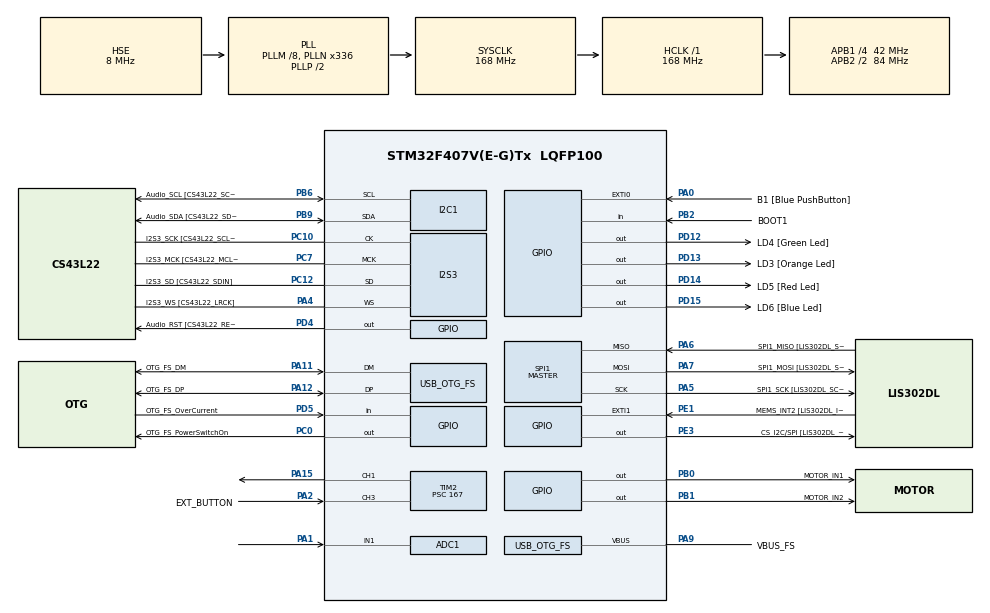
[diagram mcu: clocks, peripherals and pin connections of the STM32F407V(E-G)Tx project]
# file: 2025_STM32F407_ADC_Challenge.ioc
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ADC1.Channel-0\#ChannelRegularConversion=ADC_CHANNEL_1
ADC1.Channel-1\#ChannelInjectedConversion=ADC_CHANNEL_1
ADC1.Channel-2\#ChannelInjectedConversion=ADC_CHANNEL_1
ADC1.Channel-3\#ChannelInjectedConversion=ADC_CHANNEL_1
ADC1.Channel-4\#ChannelInjectedConversion=ADC_CHANNEL_1
ADC1.ContinuousConvMode=ENABLE
ADC1.InjNumberOfConversion=4
ADC1.InjectedOffset-1\#ChannelInjectedConversion=0
ADC1.InjectedOffset-2\#ChannelInjectedConversion=0
ADC1.InjectedOffset-3\#ChannelInjectedConversion=0
ADC1.InjectedOffset-4\#ChannelInjectedConversion=0
ADC1.InjectedRank-1\#ChannelInjectedConversion=1
ADC1.InjectedRank-2\#ChannelInjectedConversion=2
ADC1.InjectedRank-3\#ChannelInjectedConversion=3
ADC1.InjectedRank-4\#ChannelInjectedConversion=4
ADC1.NbrOfConversionFlag=1
ADC1.Rank-0\#ChannelRegularConversion=1
ADC1.SamplingTime-0\#ChannelRegularConversion=ADC_SAMPLETIME_480CYCLES
ADC1.SamplingTime-1\#ChannelInjectedConversion=ADC_SAMPLETIME_56CYCLES
ADC1.SamplingTime-2\#ChannelInjectedConversion=ADC_SAMPLETIME_3CYCLES
ADC1.SamplingTime-3\#ChannelInjectedConversion=ADC_SAMPLETIME_3CYCLES
ADC1.SamplingTime-4\#ChannelInjectedConversion=ADC_SAMPLETIME_3CYCLES
ADC1.master=1
Dma.ADC1.0.Direction=DMA_PERIPH_TO_MEMORY
Dma.ADC1.0.FIFOMode=DMA_FIFOMODE_DISABLE
Dma.ADC1.0.Instance=DMA2_Stream0
Dma.ADC1.0.MemDataAlignment=DMA_MDATAALIGN_HALFWORD
Dma.ADC1.0.MemInc=DMA_MINC_ENABLE
Dma.ADC1.0.Mode=DMA_NORMAL
Dma.ADC1.0.PeriphDataAlignment=DMA_PDATAALIGN_HALFWORD
Dma.ADC1.0.PeriphInc=DMA_PINC_DISABLE
Dma.ADC1.0.Priority=DMA_PRIORITY_LOW
Dma.Request0=ADC1
I2S3.AudioFreq-Half_Duplex_Master=I2S_AUDIOFREQ_96K
I2S3.ErrorAudioFreq=-2.34 %
I2S3.ErrorAudioFreq-Half_Duplex_Master=0.8 %
I2S3.FullDuplexMode=I2S_FULLDUPLEXMODE_DISABLE
I2S3.Instance=SPI$Index
I2S3.RealAudioFreq=93.75 KHz
I2S3.RealAudioFreq-Half_Duplex_Master=96.774 KHz
I2S3.VirtualMode=I2S_MODE_MASTER
Mcu.Family=STM32F4
Mcu.Name=STM32F407V(E-G)Tx
Mcu.Package=LQFP100
NVIC.ADC_IRQn=true\:0\:0\:false\:false\:true\:true\:true\:true
NVIC.DMA2_Stream0_IRQn=true\:0\:0\:false\:false\:true\:false\:true\:true
NVIC.OTG_FS_IRQn=true\:0\:0\:false\:false\:true\:true\:true\:true
NVIC.PVD_IRQn=true\:0\:0\:false\:false\:true\:true\:true\:true
NVIC.PriorityGroup=NVIC_PRIORITYGROUP_0
NVIC.TIM2_IRQn=true\:0\:0\:false\:false\:true\:true\:true\:true
PA0-WKUP.GPIO_Label=B1 [Blue PushButton]
PA0-WKUP.GPIO_ModeDefaultEXTI=GPIO_MODE_EVT_RISING
PA0-WKUP.GPIO_PuPd=GPIO_NOPULL
PA0-WKUP.Signal=GPXTI0
PA1.Signal=ADCx_IN1
PA10.GPIO_Label=OTG_FS_ID
PA10.GPIO_Mode=GPIO_MODE_AF_PP
PA10.GPIO_PuPd=GPIO_NOPULL
PA10.GPIO_Speed=GPIO_SPEED_FREQ_LOW
PA10.Signal=USB_OTG_FS_ID
PA11.GPIO_Label=OTG_FS_DM
PA11.GPIO_Mode=GPIO_MODE_AF_PP
PA11.GPIO_PuPd=GPIO_NOPULL
PA11.GPIO_Speed=GPIO_SPEED_FREQ_LOW
PA11.Mode=Host_Only
PA11.Signal=USB_OTG_FS_DM
PA12.GPIO_Label=OTG_FS_DP
PA12.GPIO_Mode=GPIO_MODE_AF_PP
PA12.GPIO_PuPd=GPIO_NOPULL
PA12.GPIO_Speed=GPIO_SPEED_FREQ_LOW
PA12.Mode=Host_Only
PA12.Signal=USB_OTG_FS_DP
PA13.GPIO_Label=SWDIO
PA13.Mode=Serial_Wire
PA13.Signal=SYS_JTMS-SWDIO
PA14.GPIO_Label=SWCLK
PA14.Mode=Serial_Wire
PA14.Signal=SYS_JTCK-SWCLK
PA15.Signal=S_TIM2_CH1_ETR
PA2.GPIO_Label=EXT_BUTTON
PA2.Signal=S_TIM2_CH3
PA4.GPIO_Label=I2S3_WS [CS43L22_LRCK]
PA4.GPIO_Mode=GPIO_MODE_AF_PP
PA4.GPIO_PuPd=GPIO_NOPULL
PA4.GPIO_Speed=GPIO_SPEED_FREQ_LOW
PA4.Mode=Half_Duplex_Master
PA4.Signal=I2S3_WS
PA5.GPIO_Label=SPI1_SCK [LIS302DL_SCL/SPC]
PA5.GPIO_Mode=GPIO_MODE_AF_PP
PA5.GPIO_PuPd=GPIO_NOPULL
PA5.GPIO_Speed=GPIO_SPEED_FREQ_LOW
PA5.Mode=Full_Duplex_Master
PA5.Signal=SPI1_SCK
PA6.GPIO_Label=SPI1_MISO [LIS302DL_SDO]
PA6.GPIO_Mode=GPIO_MODE_AF_PP
PA6.GPIO_PuPd=GPIO_NOPULL
PA6.GPIO_Speed=GPIO_SPEED_FREQ_LOW
PA6.Mode=Full_Duplex_Master
PA6.Signal=SPI1_MISO
PA7.GPIO_Label=SPI1_MOSI [LIS302DL_SDA/SDI/SDO]
PA7.GPIO_Mode=GPIO_MODE_AF_PP
PA7.GPIO_PuPd=GPIO_NOPULL
PA7.GPIO_Speed=GPIO_SPEED_FREQ_LOW
PA7.Mode=Full_Duplex_Master
PA7.Signal=SPI1_MOSI
PA9.GPIO_Label=VBUS_FS
PA9.GPIO_Mode=GPIO_MODE_INPUT
PA9.GPIO_PuPd=GPIO_NOPULL
PA9.Mode=Activate_VBUS
PA9.Signal=USB_OTG_FS_VBUS
PB0.GPIO_Label=MOTOR_IN1
PB0.Signal=GPIO_Output
PB1.GPIO_Label=MOTOR_IN2
PB1.Signal=GPIO_Output
PB10.GPIO_Label=CLK_IN [MP45DT02_CLK]
PB10.GPIO_Mode=GPIO_MODE_AF_PP
PB10.GPIO_PuPd=GPIO_NOPULL
PB10.GPIO_Speed=GPIO_SPEED_FREQ_LOW
PB10.Signal=I2S2_CK
PB2.GPIO_Label=BOOT1
PB2.GPIO_Mode=GPIO_MODE_INPUT
PB2.GPIO_PuPd=GPIO_NOPULL
PB2.Signal=GPIO_Input
PB3.GPIO_Label=SWO
PB3.Signal=SYS_JTDO-SWO
PB6.GPIO_Label=Audio_SCL [CS43L22_SCL]
PB6.GPIO_Mode=GPIO_MODE_AF_OD
PB6.GPIO_Pu=GPIO_PULLUP
PB6.GPIO_PuPd=GPIO_NOPULL
PB6.GPIO_Speed=GPIO_SPEED_FREQ_LOW
PB6.Mode=I2C
PB6.Signal=I2C1_SCL
PB9.GPIO_Label=Audio_SDA [CS43L22_SDA]
PB9.GPIO_Mode=GPIO_MODE_AF_OD
PB9.GPIO_Pu=GPIO_PULLUP
PB9.GPIO_PuPd=GPIO_NOPULL
PB9.GPIO_Speed=GPIO_SPEED_FREQ_LOW
PB9.Mode=I2C
PB9.Signal=I2C1_SDA
PC0.GPIO_Label=OTG_FS_PowerSwitchOn
PC0.GPIO_PuPd=GPIO_NOPULL
PC0.GPIO_Speed=GPIO_SPEED_FREQ_LOW
PC0.PinState=GPIO_PIN_SET
PC0.Signal=GPIO_Output
PC10.GPIO_Label=I2S3_SCK [CS43L22_SCLK]
PC10.GPIO_Mode=GPIO_MODE_AF_PP
PC10.GPIO_PuPd=GPIO_NOPULL
PC10.GPIO_Speed=GPIO_SPEED_FREQ_LOW
PC10.Mode=Half_Duplex_Master
PC10.Signal=I2S3_CK
PC12.GPIO_Label=I2S3_SD [CS43L22_SDIN]
PC12.GPIO_Mode=GPIO_MODE_AF_PP
PC12.GPIO_PuPd=GPIO_NOPULL
PC12.GPIO_Speed=GPIO_SPEED_FREQ_LOW
PC12.Mode=Half_Duplex_Master
PC12.Signal=I2S3_SD
PC14-OSC32_IN.GPIO_Label=PC14-OSC32_IN
PC14-OSC32_IN.Mode=LSE-External-Oscillator
PC14-OSC32_IN.Signal=RCC_OSC32_IN
PC15-OSC32_OUT.GPIO_Label=PC15-OSC32_OUT
PC15-OSC32_OUT.Mode=LSE-External-Oscillator
PC15-OSC32_OUT.Signal=RCC_OSC32_OUT
PC3.GPIO_Label=PDM_OUT [MP45DT02_DOUT]
PC3.GPIO_Mode=GPIO_MODE_AF_PP
PC3.GPIO_PuPd=GPIO_NOPULL
PC3.GPIO_Speed=GPIO_SPEED_FREQ_LOW
PC3.Signal=I2S2_SD
PC7.GPIO_Label=I2S3_MCK [CS43L22_MCLK]
PC7.GPIO_Mode=GPIO_MODE_AF_PP
PC7.GPIO_PuPd=GPIO_NOPULL
PC7.GPIO_Speed=GPIO_SPEED_FREQ_LOW
PC7.Mode=Master_Clock_Activated
PC7.Signal=I2S3_MCK
PD12.GPIO_Label=LD4 [Green Led]
PD12.GPIO_PuPd=GPIO_NOPULL
PD12.GPIO_Speed=GPIO_SPEED_FREQ_LOW
PD12.Signal=GPIO_Output
PD13.GPIO_Label=LD3 [Orange Led]
PD13.GPIO_PuPd=GPIO_NOPULL
PD13.GPIO_Speed=GPIO_SPEED_FREQ_LOW
PD13.Signal=GPIO_Output
PD14.GPIO_Label=LD5 [Red Led]
PD14.GPIO_PuPd=GPIO_NOPULL
PD14.GPIO_Speed=GPIO_SPEED_FREQ_LOW
PD14.Signal=GPIO_Output
PD15.GPIO_Label=LD6 [Blue Led]
PD15.GPIO_PuPd=GPIO_NOPULL
PD15.GPIO_Speed=GPIO_SPEED_FREQ_LOW
PD15.Signal=GPIO_Output
PD4.GPIO_Label=Audio_RST [CS43L22_RESET]
PD4.GPIO_PuPd=GPIO_NOPULL
PD4.GPIO_Speed=GPIO_SPEED_FREQ_LOW
PD4.Signal=GPIO_Output
PD5.GPIO_Label=OTG_FS_OverCurrent
PD5.GPIO_Mode=GPIO_MODE_INPUT
PD5.GPIO_PuPd=GPIO_NOPULL
PD5.Signal=GPIO_Input
PE1.GPIO_Label=MEMS_INT2 [LIS302DL_INT2]
PE1.GPIO_ModeDefaultEXTI=GPIO_MODE_EVT_RISING
PE1.GPIO_PuPd=GPIO_NOPULL
PE1.Signal=GPXTI1
PE3.GPIO_Label=CS_I2C/SPI [LIS302DL_CS_I2C/SPI]
PE3.GPIO_PuPd=GPIO_NOPULL
PE3.GPIO_Speed=GPIO_SPEED_FREQ_LOW
PE3.Signal=GPIO_Output
PH0-OSC_IN.GPIO_Label=PH0-OSC_IN
PH0-OSC_IN.Mode=HSE-External-Oscillator
PH0-OSC_IN.Signal=RCC_OSC_IN
PH1-OSC_OUT.GPIO_Label=PH1-OSC_OUT
PH1-OSC_OUT.Mode=HSE-External-Oscillator
PH1-OSC_OUT.Signal=RCC_OSC_OUT
ProjectManager.HeapSize=0x200
ProjectManager.StackSize=0x400
ProjectManager.TargetToolchain=STM32CubeIDE
RCC.48MHZClocksFreq_Value=48000000
RCC.AHBFreq_Value=168000000
RCC.APB1CLKDivider=RCC_HCLK_DIV4
RCC.APB1Freq_Value=42000000
RCC.APB1TimFreq_Value=84000000
RCC.APB2CLKDivider=RCC_HCLK_DIV2
RCC.APB2Freq_Value=84000000
RCC.APB2TimFreq_Value=168000000
RCC.CortexFreq_Value=168000000
RCC.HCLKFreq_Value=168000000
RCC.HSE_VALUE=8000000
RCC.HSI_VALUE=16000000
RCC.PLLM=8
RCC.PLLN=336
RCC.PLLQ=7
RCC.SYSCLKFreq_VALUE=168000000
RCC.SYSCLKSource=RCC_SYSCLKSOURCE_PLLCLK
RCC.VCOOutputFreq_Value=336000000
SH.ADCx_IN1.0=ADC1_IN1,IN1
SH.S_TIM2_CH1_ETR.0=TIM2_CH1,PWM Generation1 CH1
SH.S_TIM2_CH3.0=TIM2_CH3,Input_Capture3_from_TI3
SPI1.BaudRatePrescaler-Full_Duplex_Master=SPI_BAUDRATEPRESCALER_2
SPI1.CalculateBaudRate-Full_Duplex_Master=42.0 MBits/s
SPI1.Direction=SPI_DIRECTION_2LINES
SPI1.Mode=SPI_MODE_MASTER
SPI1.Mode-Full_Duplex_Master=SPI_MODE_MASTER
SPI1.VirtualType=VM_MASTER
TIM2.Channel-Input_Capture3_from_TI3=TIM_CHANNEL_3
TIM2.Channel-PWM\ Generation1\ CH1=TIM_CHANNEL_1
TIM2.Period=1023
TIM2.Prescaler=167
USB_HOST.BSP.number=1
USB_HOST.USBH_HandleTypeDef-CDC_FS=hUsbHostFS
USB_HOST.VirtualModeFS=Cdc
USB_HOST0.BSP.STBoard=false
USB_HOST0.BSP.api=Unknown
USB_HOST0.BSP.instance=PC0
USB_HOST0.BSP.ip=GPIO
USB_HOST0.BSP.mode=Output
USB_HOST0.BSP.name=Drive_VBUS_FS
USB_HOST0.BSP.solution=PC0
USB_OTG_FS.VirtualMode=Host_Only
USB_OTG_FS.phy_itface=HCD_PHY_EMBEDDED
VP_TIM2_VS_ClockSourceINT.Mode=Internal
VP_USB_HOST_VS_USB_HOST_CDC_FS.Mode=CDC_FS
board=STM32F407G-DISC1

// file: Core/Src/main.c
/* USER CODE BEGIN Header */
/**
  ******************************************************************************
  * @file           : main.c
  * @brief          : Main program body
  ******************************************************************************
  * @attention
  *
  * Copyright (c) 2025 STMicroelectronics.
  * All rights reserved.
  *
  * This software is licensed under terms that can be found in the LICENSE file
  * in the root directory of this software component.
  * If no LICENSE file comes with this software, it is provided AS-IS.
  *
  ******************************************************************************
  */
/* USER CODE END Header */
#include "main.h"
#include "usb_host.h"

/* USER CODE BEGIN Includes */
#include <stdio.h> // For potential debug prints
/* USER CODE END Includes */

/* USER CODE BEGIN PTD */
typedef enum {
    MOTOR_STOPPED,
    MOTOR_CCW,
    MOTOR_CW
} MotorState_t;

typedef enum {
    BATT_OK,
    BATT_LOW_SHUTDOWN, // Motors off, waiting for >7V
    BATT_VERY_LOW      // Motors off, below 6.5V
} BatteryState_t;
/* USER CODE END PTD */

/* USER CODE BEGIN PD */
// ADC & Battery Voltage Defines
#define VREF_MV                     3300.0f // ADC Reference voltage in millivolts (e.g., 3.3V)
#define ADC_MAX_VALUE               4095.0f // For 12-bit ADC (2^12 - 1)
// *** IMPORTANT: CALIBRATE THIS Voltage Divider Ratio ***
// Example: If R1=10k, R2=5.6k, Ratio = (22.1k + 10k) / 10k = 32.1 / 10 = 3.21
#define VOLTAGE_DIVIDER_RATIO       3.2f // (R1+R2)/R2 for your voltage divider
#define BATT_THRESHOLD_LOW_MV       6500    // 6.5V in mV
#define BATT_THRESHOLD_RESTART_MV   7000    // 7.0V in mV

// Motor PWM Timer (Assuming TIM2, Channel 1)
#define MOTOR_PWM_TIMER             htim2   // Change if you used a different timer
#define MOTOR_PWM_CHANNEL           TIM_CHANNEL_1
#define MOTOR_PWM_MAX_DUTY          1023    // Corresponds to ARR set in CubeMX for TIM2
#define MOTOR_DEFAULT_SPEED_DUTY    (MOTOR_PWM_MAX_DUTY / 2) // 50% speed

// Button Click Detection
#define BUTTON_DEBOUNCE_MS          50      // Debounce time for button
#define BUTTON_MULTICLICK_TIMEOUT_MS 500    // Max time between clicks for multi-click
/* USER CODE END PD */

ADC_HandleTypeDef hadc1;
DMA_HandleTypeDef hdma_adc1;

I2C_HandleTypeDef hi2c1;

I2S_HandleTypeDef hi2s3;

SPI_HandleTypeDef hspi1;

TIM_HandleTypeDef htim2;

/* USER CODE BEGIN PV */
// ADC Variables
#if ADC_NROFCONVERSIONS == 1 // If you changed NbrOfConversion to 1
uint16_t gADC_Value = 0; // Single ADC value
#else
uint16_t gADC_Values[1] = {0}; // If you kept NbrOfConversions > 1, but only use the first
#endif
volatile uint8_t gFlag_ADC_Finished = 0;
volatile uint32_t gBatteryVoltage_mV = 0;
volatile BatteryState_t gBatteryState = BATT_OK;

// Motor State Variables
volatile MotorState_t gMotorCommand = MOTOR_STOPPED;
volatile uint8_t gMotorsEnabledByBattery = 1; // Start assuming battery is OK

// Button Click Variables
volatile uint8_t  gButtonClickCount = 0;
volatile uint32_t gLastButtonPressTime = 0;
volatile uint32_t gButtonDebounceCheckTime = 0;
/* USER CODE END PV */

void SystemClock_Config(void);
static void MX_GPIO_Init(void);
static void MX_DMA_Init(void);
static void MX_I2C1_Init(void);
static void MX_I2S3_Init(void);
static void MX_SPI1_Init(void);
static void MX_ADC1_Init(void);
static void MX_TIM2_Init(void);
void MX_USB_HOST_Process(void);

/* USER CODE BEGIN PFP */
void ProcessBatteryVoltage(void);
void ControlMotors(void);
void SetMotorSpeed(uint16_t duty_cycle);
void SetMotorDirection(MotorState_t direction);
void ProcessButtonClicks(void);
/* USER CODE END PFP */

/* USER CODE BEGIN 0 */

void ProcessBatteryVoltage(void) {
    uint32_t raw_adc;

	#if ADC_NROFCONVERSIONS == 1
		raw_adc = gADC_Value;
	#else
		raw_adc = gADC_Values[0]; // Assuming battery voltage is the first channel
	#endif

    // Convert ADC raw value to millivolts
    // V_adc = raw_adc * (VREF_MV / ADC_MAX_VALUE)
    // V_battery = V_adc * VOLTAGE_DIVIDER_RATIO
    gBatteryVoltage_mV = (uint32_t)(((float)raw_adc * VREF_MV / ADC_MAX_VALUE) * VOLTAGE_DIVIDER_RATIO);

    // Hysteresis for battery state
    if (gBatteryState == BATT_VERY_LOW) {
        if (gBatteryVoltage_mV > BATT_THRESHOLD_RESTART_MV) {
            gBatteryState = BATT_OK;
            gMotorsEnabledByBattery = 1;
        }
    } else if (gBatteryState == BATT_LOW_SHUTDOWN) {
         if (gBatteryVoltage_mV > BATT_THRESHOLD_RESTART_MV) {
            gBatteryState = BATT_OK;
            gMotorsEnabledByBattery = 1;
        } else if (gBatteryVoltage_mV < BATT_THRESHOLD_LOW_MV) {
            gBatteryState = BATT_VERY_LOW;
            gMotorsEnabledByBattery = 0;
        }
    }
    else { // BATT_OK
        if (gBatteryVoltage_mV < BATT_THRESHOLD_LOW_MV) {
            gBatteryState = BATT_VERY_LOW; // Or BATT_LOW_SHUTDOWN if you want a distinct state
            gMotorsEnabledByBattery = 0;
        }
    }

    // For debugging (optional, requires UART setup)
    // printf("Battery Voltage: %lu mV, State: %d\r\n", gBatteryVoltage_mV, gBatteryState);
}

void SetMotorSpeed(uint16_t duty_cycle) {
    if (duty_cycle > MOTOR_PWM_MAX_DUTY) {
        duty_cycle = MOTOR_PWM_MAX_DUTY;
    }
    __HAL_TIM_SET_COMPARE(&MOTOR_PWM_TIMER, MOTOR_PWM_CHANNEL, duty_cycle);
}

void SetMotorDirection(MotorState_t command) {
    if (!gMotorsEnabledByBattery) { // If battery is too low, force stop
        HAL_GPIO_WritePin(MOTOR_IN1_GPIO_Port, MOTOR_IN1_Pin, GPIO_PIN_RESET); // Use labels from CubeMX
        HAL_GPIO_WritePin(MOTOR_IN2_GPIO_Port, MOTOR_IN2_Pin, GPIO_PIN_RESET);
        SetMotorSpeed(0);
        return;
    }

    switch (command) {
        case MOTOR_STOPPED:
            HAL_GPIO_WritePin(MOTOR_IN1_GPIO_Port, MOTOR_IN1_Pin, GPIO_PIN_RESET);
            HAL_GPIO_WritePin(MOTOR_IN2_GPIO_Port, MOTOR_IN2_Pin, GPIO_PIN_RESET);
            SetMotorSpeed(0);
            break;
        case MOTOR_CCW:
            HAL_GPIO_WritePin(MOTOR_IN1_GPIO_Port, MOTOR_IN1_Pin, GPIO_PIN_SET);
            HAL_GPIO_WritePin(MOTOR_IN2_GPIO_Port, MOTOR_IN2_Pin, GPIO_PIN_RESET);
            // Note: Actual IN1/IN2 for CCW/CW depends on your wiring to the motor driver
            SetMotorSpeed(MOTOR_DEFAULT_SPEED_DUTY);
            break;
        case MOTOR_CW:
            HAL_GPIO_WritePin(MOTOR_IN1_GPIO_Port, MOTOR_IN1_Pin, GPIO_PIN_RESET);
            HAL_GPIO_WritePin(MOTOR_IN2_GPIO_Port, MOTOR_IN2_Pin, GPIO_PIN_SET);
            SetMotorSpeed(MOTOR_DEFAULT_SPEED_DUTY);
            break;
        default:
            HAL_GPIO_WritePin(MOTOR_IN1_GPIO_Port, MOTOR_IN1_Pin, GPIO_PIN_RESET);
            HAL_GPIO_WritePin(MOTOR_IN2_GPIO_Port, MOTOR_IN2_Pin, GPIO_PIN_RESET);
            SetMotorSpeed(0);
            break;
    }
}

void ControlMotors(void) {
    SetMotorDirection(gMotorCommand);
}

void ProcessButtonClicks(void) {
    // This function is called periodically from the main loop to check if a multi-click timeout has occurred.
    if (gButtonClickCount > 0 && (HAL_GetTick() - gLastButtonPressTime > BUTTON_MULTICLICK_TIMEOUT_MS)) {
        if (gButtonClickCount == 1) {
            gMotorCommand = MOTOR_STOPPED;
        } else if (gButtonClickCount == 2) {
            gMotorCommand = MOTOR_CCW;
        } else if (gButtonClickCount >= 3) { // More than 3 clicks also results in CW
            gMotorCommand = MOTOR_CW;
        }
        gButtonClickCount = 0; // Reset for next sequence
    }
}

/* USER CODE END 0 */

int main(void)
{

  /* MCU Configuration--------------------------------------------------------*/

  /* Reset of all peripherals, Initializes the Flash interface and the Systick. */
  HAL_Init();

  /* Configure the system clock */
  SystemClock_Config();

  /* Initialize all configured peripherals */
  MX_GPIO_Init();
  MX_DMA_Init();
  MX_I2C1_Init();
  MX_I2S3_Init();
  MX_SPI1_Init();
  MX_USB_HOST_Init();
  MX_ADC1_Init();
  MX_TIM2_Init();
  /* USER CODE BEGIN 2 */
  // Start ADC with DMA
  #if ADC_NROFCONVERSIONS == 1
    if (HAL_ADC_Start_DMA(&hadc1, (uint32_t*)&gADC_Value, 1) != HAL_OK) {
        Error_Handler();
    }
  #else
    if (HAL_ADC_Start_DMA(&hadc1, (uint32_t*)gADC_Values, 1) != HAL_OK) { // Still read 1 value into the array
        Error_Handler();
    }
  #endif

    // Start PWM Timer
    if (HAL_TIM_PWM_Start(&MOTOR_PWM_TIMER, MOTOR_PWM_CHANNEL) != HAL_OK) {
        Error_Handler();
    }
    SetMotorSpeed(0); // Ensure motors are off at start

    gMotorCommand = MOTOR_STOPPED; // Initial motor state
    SetMotorDirection(gMotorCommand);

    if (HAL_TIM_IC_Start_IT(&htim2, TIM_CHANNEL_3) != HAL_OK) {
    	Error_Handler();
    }
  /* USER CODE END 2 */

  /* Infinite loop */
  /* USER CODE BEGIN WHILE */
  uint32_t last_adc_check_time = HAL_GetTick();

  while (1)
  {
    /* USER CODE END WHILE */
    MX_USB_HOST_Process();

    /* USER CODE BEGIN 3 */
    uint32_t current_time = HAL_GetTick();

    // Process ADC data periodically (e.g., every 100ms)
    if (gFlag_ADC_Finished == 1) {
            gFlag_ADC_Finished = 0;
            ProcessBatteryVoltage(); // Process the new ADC value

            // Restart DMA for next conversion after processing
    #if ADC_NROFCONVERSIONS == 1
            if (HAL_ADC_Start_DMA(&hadc1, (uint32_t*)&gADC_Value, 1) != HAL_OK) {
                Error_Handler(); // Or handle error more gracefully
            }
    #else
            if (HAL_ADC_Start_DMA(&hadc1, (uint32_t*)gADC_Values, 1) != HAL_OK) {
                Error_Handler();
            }
    #endif
    }

	// Check for button click timeout
	ProcessButtonClicks();

	// Apply motor commands based on battery and button
	ControlMotors();

	// Minimal delay to allow other tasks/interrupts, ADC runs on DMA
	HAL_Delay(10); // Adjust as needed, e.g. 10-50ms
  }
  /* USER CODE END 3 */
}

void SystemClock_Config(void)
{
  RCC_OscInitTypeDef RCC_OscInitStruct = {0};
  RCC_ClkInitTypeDef RCC_ClkInitStruct = {0};

  /** Configure the main internal regulator output voltage
  */
  __HAL_RCC_PWR_CLK_ENABLE();
  __HAL_PWR_VOLTAGESCALING_CONFIG(PWR_REGULATOR_VOLTAGE_SCALE1);

  /** Initializes the RCC Oscillators according to the specified parameters
  * in the RCC_OscInitTypeDef structure.
  */
  RCC_OscInitStruct.OscillatorType = RCC_OSCILLATORTYPE_HSE;
  RCC_OscInitStruct.HSEState = RCC_HSE_ON;
  RCC_OscInitStruct.PLL.PLLState = RCC_PLL_ON;
  RCC_OscInitStruct.PLL.PLLSource = RCC_PLLSOURCE_HSE;
  RCC_OscInitStruct.PLL.PLLM = 8;
  RCC_OscInitStruct.PLL.PLLN = 336;
  RCC_OscInitStruct.PLL.PLLP = RCC_PLLP_DIV2;
  RCC_OscInitStruct.PLL.PLLQ = 7;
  if (HAL_RCC_OscConfig(&RCC_OscInitStruct) != HAL_OK)
  {
    Error_Handler();
  }

  /** Initializes the CPU, AHB and APB buses clocks
  */
  RCC_ClkInitStruct.ClockType = RCC_CLOCKTYPE_HCLK|RCC_CLOCKTYPE_SYSCLK
                              |RCC_CLOCKTYPE_PCLK1|RCC_CLOCKTYPE_PCLK2;
  RCC_ClkInitStruct.SYSCLKSource = RCC_SYSCLKSOURCE_PLLCLK;
  RCC_ClkInitStruct.AHBCLKDivider = RCC_SYSCLK_DIV1;
  RCC_ClkInitStruct.APB1CLKDivider = RCC_HCLK_DIV4;
  RCC_ClkInitStruct.APB2CLKDivider = RCC_HCLK_DIV2;

  if (HAL_RCC_ClockConfig(&RCC_ClkInitStruct, FLASH_LATENCY_5) != HAL_OK)
  {
    Error_Handler();
  }
}

static void MX_ADC1_Init(void)
{

  ADC_ChannelConfTypeDef sConfig = {0};
  ADC_InjectionConfTypeDef sConfigInjected = {0};

  /** Configure the global features of the ADC (Clock, Resolution, Data Alignment and number of conversion)
  */
  hadc1.Instance = ADC1;
  hadc1.Init.ClockPrescaler = ADC_CLOCK_SYNC_PCLK_DIV4;
  hadc1.Init.Resolution = ADC_RESOLUTION_12B;
  hadc1.Init.ScanConvMode = ENABLE;
  hadc1.Init.ContinuousConvMode = ENABLE;
  hadc1.Init.DiscontinuousConvMode = DISABLE;
  hadc1.Init.ExternalTrigConvEdge = ADC_EXTERNALTRIGCONVEDGE_NONE;
  hadc1.Init.ExternalTrigConv = ADC_SOFTWARE_START;
  hadc1.Init.DataAlign = ADC_DATAALIGN_RIGHT;
  hadc1.Init.NbrOfConversion = 1;
  hadc1.Init.DMAContinuousRequests = DISABLE;
  hadc1.Init.EOCSelection = ADC_EOC_SINGLE_CONV;
  if (HAL_ADC_Init(&hadc1) != HAL_OK)
  {
    Error_Handler();
  }

  /** Configure for the selected ADC regular channel its corresponding rank in the sequencer and its sample time.
  */
  sConfig.Channel = ADC_CHANNEL_1;
  sConfig.Rank = 1;
  sConfig.SamplingTime = ADC_SAMPLETIME_480CYCLES;
  if (HAL_ADC_ConfigChannel(&hadc1, &sConfig) != HAL_OK)
  {
    Error_Handler();
  }

  /** Configures for the selected ADC injected channel its corresponding rank in the sequencer and its sample time
  */
  sConfigInjected.InjectedChannel = ADC_CHANNEL_1;
  sConfigInjected.InjectedRank = 1;
  sConfigInjected.InjectedNbrOfConversion = 4;
  sConfigInjected.InjectedSamplingTime = ADC_SAMPLETIME_56CYCLES;
  sConfigInjected.ExternalTrigInjecConvEdge = ADC_EXTERNALTRIGINJECCONVEDGE_NONE;
  sConfigInjected.ExternalTrigInjecConv = ADC_INJECTED_SOFTWARE_START;
  sConfigInjected.AutoInjectedConv = DISABLE;
  sConfigInjected.InjectedDiscontinuousConvMode = DISABLE;
  sConfigInjected.InjectedOffset = 0;
  if (HAL_ADCEx_InjectedConfigChannel(&hadc1, &sConfigInjected) != HAL_OK)
  {
    Error_Handler();
  }

  /** Configures for the selected ADC injected channel its corresponding rank in the sequencer and its sample time
  */
  sConfigInjected.InjectedRank = 2;
  sConfigInjected.InjectedSamplingTime = ADC_SAMPLETIME_3CYCLES;
  if (HAL_ADCEx_InjectedConfigChannel(&hadc1, &sConfigInjected) != HAL_OK)
  {
    Error_Handler();
  }

  /** Configures for the selected ADC injected channel its corresponding rank in the sequencer and its sample time
  */
  sConfigInjected.InjectedRank = 3;
  if (HAL_ADCEx_InjectedConfigChannel(&hadc1, &sConfigInjected) != HAL_OK)
  {
    Error_Handler();
  }

  /** Configures for the selected ADC injected channel its corresponding rank in the sequencer and its sample time
  */
  sConfigInjected.InjectedRank = 4;
  if (HAL_ADCEx_InjectedConfigChannel(&hadc1, &sConfigInjected) != HAL_OK)
  {
    Error_Handler();
  }

}

static void MX_I2C1_Init(void)
{

  hi2c1.Instance = I2C1;
  hi2c1.Init.ClockSpeed = 100000;
  hi2c1.Init.DutyCycle = I2C_DUTYCYCLE_2;
  hi2c1.Init.OwnAddress1 = 0;
  hi2c1.Init.AddressingMode = I2C_ADDRESSINGMODE_7BIT;
  hi2c1.Init.DualAddressMode = I2C_DUALADDRESS_DISABLE;
  hi2c1.Init.OwnAddress2 = 0;
  hi2c1.Init.GeneralCallMode = I2C_GENERALCALL_DISABLE;
  hi2c1.Init.NoStretchMode = I2C_NOSTRETCH_DISABLE;
  if (HAL_I2C_Init(&hi2c1) != HAL_OK)
  {
    Error_Handler();
  }

}

static void MX_I2S3_Init(void)
{

  hi2s3.Instance = SPI3;
  hi2s3.Init.Mode = I2S_MODE_MASTER_TX;
  hi2s3.Init.Standard = I2S_STANDARD_PHILIPS;
  hi2s3.Init.DataFormat = I2S_DATAFORMAT_16B;
  hi2s3.Init.MCLKOutput = I2S_MCLKOUTPUT_ENABLE;
  hi2s3.Init.AudioFreq = I2S_AUDIOFREQ_96K;
  hi2s3.Init.CPOL = I2S_CPOL_LOW;
  hi2s3.Init.ClockSource = I2S_CLOCK_PLL;
  hi2s3.Init.FullDuplexMode = I2S_FULLDUPLEXMODE_DISABLE;
  if (HAL_I2S_Init(&hi2s3) != HAL_OK)
  {
    Error_Handler();
  }

}

static void MX_SPI1_Init(void)
{

  /* SPI1 parameter configuration*/
  hspi1.Instance = SPI1;
  hspi1.Init.Mode = SPI_MODE_MASTER;
  hspi1.Init.Direction = SPI_DIRECTION_2LINES;
  hspi1.Init.DataSize = SPI_DATASIZE_8BIT;
  hspi1.Init.CLKPolarity = SPI_POLARITY_LOW;
  hspi1.Init.CLKPhase = SPI_PHASE_1EDGE;
  hspi1.Init.NSS = SPI_NSS_SOFT;
  hspi1.Init.BaudRatePrescaler = SPI_BAUDRATEPRESCALER_2;
  hspi1.Init.FirstBit = SPI_FIRSTBIT_MSB;
  hspi1.Init.TIMode = SPI_TIMODE_DISABLE;
  hspi1.Init.CRCCalculation = SPI_CRCCALCULATION_DISABLE;
  hspi1.Init.CRCPolynomial = 10;
  if (HAL_SPI_Init(&hspi1) != HAL_OK)
  {
    Error_Handler();
  }

}

static void MX_TIM2_Init(void)
{

  TIM_ClockConfigTypeDef sClockSourceConfig = {0};
  TIM_MasterConfigTypeDef sMasterConfig = {0};
  TIM_OC_InitTypeDef sConfigOC = {0};
  TIM_IC_InitTypeDef sConfigIC = {0};

  htim2.Instance = TIM2;
  htim2.Init.Prescaler = 167;
  htim2.Init.CounterMode = TIM_COUNTERMODE_UP;
  htim2.Init.Period = 1023;
  htim2.Init.ClockDivision = TIM_CLOCKDIVISION_DIV1;
  htim2.Init.AutoReloadPreload = TIM_AUTORELOAD_PRELOAD_DISABLE;
  if (HAL_TIM_Base_Init(&htim2) != HAL_OK)
  {
    Error_Handler();
  }
  sClockSourceConfig.ClockSource = TIM_CLOCKSOURCE_INTERNAL;
  if (HAL_TIM_ConfigClockSource(&htim2, &sClockSourceConfig) != HAL_OK)
  {
    Error_Handler();
  }
  if (HAL_TIM_PWM_Init(&htim2) != HAL_OK)
  {
    Error_Handler();
  }
  if (HAL_TIM_IC_Init(&htim2) != HAL_OK)
  {
    Error_Handler();
  }
  sMasterConfig.MasterOutputTrigger = TIM_TRGO_RESET;
  sMasterConfig.MasterSlaveMode = TIM_MASTERSLAVEMODE_DISABLE;
  if (HAL_TIMEx_MasterConfigSynchronization(&htim2, &sMasterConfig) != HAL_OK)
  {
    Error_Handler();
  }
  sConfigOC.OCMode = TIM_OCMODE_PWM1;
  sConfigOC.Pulse = 0;
  sConfigOC.OCPolarity = TIM_OCPOLARITY_HIGH;
  sConfigOC.OCFastMode = TIM_OCFAST_DISABLE;
  if (HAL_TIM_PWM_ConfigChannel(&htim2, &sConfigOC, TIM_CHANNEL_1) != HAL_OK)
  {
    Error_Handler();
  }
  sConfigIC.ICPolarity = TIM_INPUTCHANNELPOLARITY_RISING;
  sConfigIC.ICSelection = TIM_ICSELECTION_DIRECTTI;
  sConfigIC.ICPrescaler = TIM_ICPSC_DIV1;
  sConfigIC.ICFilter = 0;
  if (HAL_TIM_IC_ConfigChannel(&htim2, &sConfigIC, TIM_CHANNEL_3) != HAL_OK)
  {
    Error_Handler();
  }
  HAL_TIM_MspPostInit(&htim2);

}

static void MX_DMA_Init(void)
{

  /* DMA controller clock enable */
  __HAL_RCC_DMA2_CLK_ENABLE();

  /* DMA interrupt init */
  /* DMA2_Stream0_IRQn interrupt configuration */
  HAL_NVIC_SetPriority(DMA2_Stream0_IRQn, 0, 0);
  HAL_NVIC_EnableIRQ(DMA2_Stream0_IRQn);

}

static void MX_GPIO_Init(void)
{
  GPIO_InitTypeDef GPIO_InitStruct = {0};

  /* GPIO Ports Clock Enable */
  __HAL_RCC_GPIOE_CLK_ENABLE();
  __HAL_RCC_GPIOC_CLK_ENABLE();
  __HAL_RCC_GPIOH_CLK_ENABLE();
  __HAL_RCC_GPIOA_CLK_ENABLE();
  __HAL_RCC_GPIOB_CLK_ENABLE();
  __HAL_RCC_GPIOD_CLK_ENABLE();

  /*Configure GPIO pin Output Level */
  HAL_GPIO_WritePin(CS_I2C_SPI_GPIO_Port, CS_I2C_SPI_Pin, GPIO_PIN_RESET);

  /*Configure GPIO pin Output Level */
  HAL_GPIO_WritePin(OTG_FS_PowerSwitchOn_GPIO_Port, OTG_FS_PowerSwitchOn_Pin, GPIO_PIN_SET);

  /*Configure GPIO pin Output Level */
  HAL_GPIO_WritePin(GPIOB, MOTOR_IN1_Pin|MOTOR_IN2_Pin, GPIO_PIN_RESET);

  /*Configure GPIO pin Output Level */
  HAL_GPIO_WritePin(GPIOD, LD4_Pin|LD3_Pin|LD5_Pin|LD6_Pin
                          |Audio_RST_Pin, GPIO_PIN_RESET);

  /*Configure GPIO pin : CS_I2C_SPI_Pin */
  GPIO_InitStruct.Pin = CS_I2C_SPI_Pin;
  GPIO_InitStruct.Mode = GPIO_MODE_OUTPUT_PP;
  GPIO_InitStruct.Pull = GPIO_NOPULL;
  GPIO_InitStruct.Speed = GPIO_SPEED_FREQ_LOW;
  HAL_GPIO_Init(CS_I2C_SPI_GPIO_Port, &GPIO_InitStruct);

  /*Configure GPIO pin : OTG_FS_PowerSwitchOn_Pin */
  GPIO_InitStruct.Pin = OTG_FS_PowerSwitchOn_Pin;
  GPIO_InitStruct.Mode = GPIO_MODE_OUTPUT_PP;
  GPIO_InitStruct.Pull = GPIO_NOPULL;
  GPIO_InitStruct.Speed = GPIO_SPEED_FREQ_LOW;
  HAL_GPIO_Init(OTG_FS_PowerSwitchOn_GPIO_Port, &GPIO_InitStruct);

  /*Configure GPIO pin : PDM_OUT_Pin */
  GPIO_InitStruct.Pin = PDM_OUT_Pin;
  GPIO_InitStruct.Mode = GPIO_MODE_AF_PP;
  GPIO_InitStruct.Pull = GPIO_NOPULL;
  GPIO_InitStruct.Speed = GPIO_SPEED_FREQ_LOW;
  GPIO_InitStruct.Alternate = GPIO_AF5_SPI2;
  HAL_GPIO_Init(PDM_OUT_GPIO_Port, &GPIO_InitStruct);

  /*Configure GPIO pin : B1_Pin */
  GPIO_InitStruct.Pin = B1_Pin;
  GPIO_InitStruct.Mode = GPIO_MODE_EVT_RISING;
  GPIO_InitStruct.Pull = GPIO_NOPULL;
  HAL_GPIO_Init(B1_GPIO_Port, &GPIO_InitStruct);

  /*Configure GPIO pins : MOTOR_IN1_Pin MOTOR_IN2_Pin */
  GPIO_InitStruct.Pin = MOTOR_IN1_Pin|MOTOR_IN2_Pin;
  GPIO_InitStruct.Mode = GPIO_MODE_OUTPUT_PP;
  GPIO_InitStruct.Pull = GPIO_NOPULL;
  GPIO_InitStruct.Speed = GPIO_SPEED_FREQ_LOW;
  HAL_GPIO_Init(GPIOB, &GPIO_InitStruct);

  /*Configure GPIO pin : BOOT1_Pin */
  GPIO_InitStruct.Pin = BOOT1_Pin;
  GPIO_InitStruct.Mode = GPIO_MODE_INPUT;
  GPIO_InitStruct.Pull = GPIO_NOPULL;
  HAL_GPIO_Init(BOOT1_GPIO_Port, &GPIO_InitStruct);

  /*Configure GPIO pin : CLK_IN_Pin */
  GPIO_InitStruct.Pin = CLK_IN_Pin;
  GPIO_InitStruct.Mode = GPIO_MODE_AF_PP;
  GPIO_InitStruct.Pull = GPIO_NOPULL;
  GPIO_InitStruct.Speed = GPIO_SPEED_FREQ_LOW;
  GPIO_InitStruct.Alternate = GPIO_AF5_SPI2;
  HAL_GPIO_Init(CLK_IN_GPIO_Port, &GPIO_InitStruct);

  /*Configure GPIO pins : LD4_Pin LD3_Pin LD5_Pin LD6_Pin
                           Audio_RST_Pin */
  GPIO_InitStruct.Pin = LD4_Pin|LD3_Pin|LD5_Pin|LD6_Pin
                          |Audio_RST_Pin;
  GPIO_InitStruct.Mode = GPIO_MODE_OUTPUT_PP;
  GPIO_InitStruct.Pull = GPIO_NOPULL;
  GPIO_InitStruct.Speed = GPIO_SPEED_FREQ_LOW;
  HAL_GPIO_Init(GPIOD, &GPIO_InitStruct);

  /*Configure GPIO pin : OTG_FS_OverCurrent_Pin */
  GPIO_InitStruct.Pin = OTG_FS_OverCurrent_Pin;
  GPIO_InitStruct.Mode = GPIO_MODE_INPUT;
  GPIO_InitStruct.Pull = GPIO_NOPULL;
  HAL_GPIO_Init(OTG_FS_OverCurrent_GPIO_Port, &GPIO_InitStruct);

  /*Configure GPIO pin : MEMS_INT2_Pin */
  GPIO_InitStruct.Pin = MEMS_INT2_Pin;
  GPIO_InitStruct.Mode = GPIO_MODE_EVT_RISING;
  GPIO_InitStruct.Pull = GPIO_NOPULL;
  HAL_GPIO_Init(MEMS_INT2_GPIO_Port, &GPIO_InitStruct);

}

/* USER CODE BEGIN 4 */

// ADC Conversion Complete Callback
void HAL_ADC_ConvCpltCallback(ADC_HandleTypeDef* hadc) {
    if (hadc->Instance == ADC1) {
        gFlag_ADC_Finished = 1;
        // The actual ADC value is already in gADC_Value (or gADC_Values[0]) via DMA
        // No need to restart DMA here, main loop will do it after processing.
    }
}

// Timer Input Capture Callback for Button
void HAL_TIM_IC_CaptureCallback(TIM_HandleTypeDef *htim) {
    // Check if the interrupt comes from the correct Timer instance (TIM2)
    if (htim->Instance == TIM2) {
        // Check if the interrupt comes from the correct Timer Channel (Channel 3 for PA2)
        // HAL_TIM_ACTIVE_CHANNEL_3 corresponds to the flag for Channel 3 capture
        if (htim->Channel == HAL_TIM_ACTIVE_CHANNEL_3) {
            uint32_t current_tick = HAL_GetTick();
            // uint32_t captured_value = HAL_TIM_ReadCapturedValue(htim, TIM_CHANNEL_3); // You can read the captured timer value if needed

            // Debounce: Check if enough time has passed since the last valid press/debounce check
            if ((current_tick - gButtonDebounceCheckTime) > BUTTON_DEBOUNCE_MS) {
                gButtonDebounceCheckTime = current_tick; // Update time for next debounce check

                // Multi-click logic
                if ((current_tick - gLastButtonPressTime) > BUTTON_MULTICLICK_TIMEOUT_MS || gButtonClickCount == 0) {
                    // This is the first click of a new sequence (or timeout occurred)
                    gButtonClickCount = 1;
                } else {
                    // This is a subsequent click within the timeout window
                    gButtonClickCount++;
                }
                gLastButtonPressTime = current_tick; // Record time of this valid (debounced) press
                // printf("Button Press (TIM2_CH3) Detected! Clicks: %d\r\n", gButtonClickCount);
            }
        }
        // You can add else if for other channels of TIM2 if you use them for input capture
    }
    // You can add else if for other timer instances (e.g. TIM3, TIM4) if they use IC_CaptureCallback
}

/* USER CODE END 4 */

void Error_Handler(void)
{
  __disable_irq();
  while (1)
  {
  }
}
